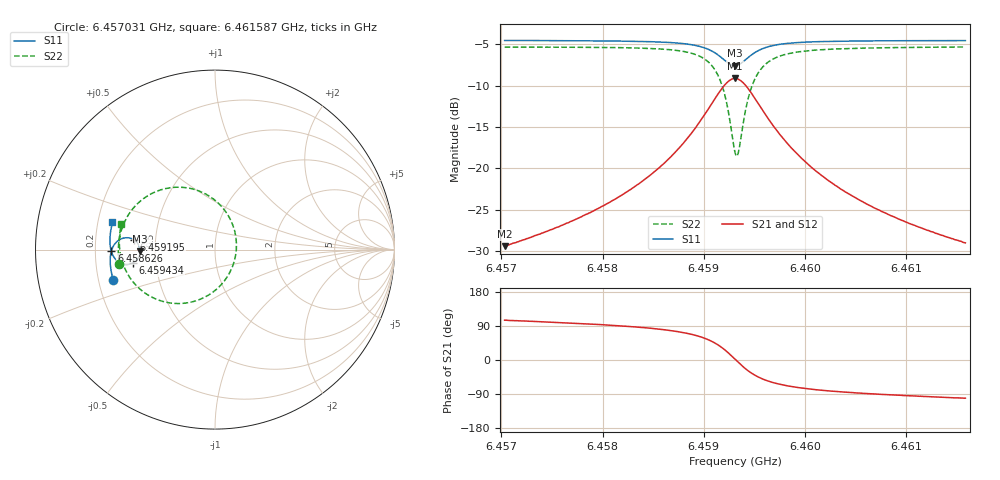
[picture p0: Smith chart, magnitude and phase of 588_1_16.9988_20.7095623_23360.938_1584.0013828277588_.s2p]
#  HZ  S  RI  R  50.00
! Rohde & Schwarz Vector Network Analyzer
! Rohde-Schwarz,ZNB20-2Port,1311601062101988,3.16
! Created: UTC 3/20/2024, 11:18:24 PM
! freq[Hz]  re:S11  im:S11  re:S21  im:S21  re:S12  im:S12  re:S22  im:S22
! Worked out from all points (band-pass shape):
!   401 points, 6.457031 GHz to 6.461587 GHz, reference 50 ohm
!   highest |S21| = -9.14 dB at 6.459309 GHz (marker M1); lowest = -29.4 dB at 6.457031 GHz (marker M2)
!   |S21| within 3 dB of the highest: 6.459081 GHz to 6.459537 GHz (455.9 kHz wide, 0.00706 % of centre)
!   lowest |S11| = -7.6 dB at 6.459309 GHz (marker M3), VSWR 2.43, Z = 20.6 - j0.421 ohm
!   |S11| at or under -10 dB: nowhere
!   |S22| runs from -18.5 to -5.3 dB; largest |S21 - S12| = 0.014
!   S11 on the Smith chart (normalised r, x): 6.457031 GHz: 0.26, -0.14; 6.458626 GHz: 0.27, -0.01; 6.459195 GHz: 0.37, +0.05; 6.459434 GHz: 0.37, -0.07; 6.461587 GHz: 0.26, +0.12
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6.4570308e9  -0.5679 -0.1681  -0.00878 0.0328  -0.00695 0.0328  -0.5339 -0.0799
6.457794e9  -0.5812 -0.101  -0.00537 0.0509  -0.00268 0.0503  -0.5385 0.0102
6.4581927e9  -0.5839 -0.0612  0.000227 0.0693  0.00355 0.0678  -0.5305 0.0735
6.4585572e9  -0.5798 -0.0174  0.015 0.0996  0.019 0.0969  -0.5034 0.1557
6.4586256e9  -0.5775 -0.00802  0.0204 0.108  0.0246 0.1048  -0.4931 0.1757
6.4588192e9  -0.5646 0.0224  0.0472 0.1392  0.0515 0.1342  -0.4425 0.2452
6.4589673e9  -0.5415 0.0487  0.0931 0.1698  0.0964 0.163  -0.3579 0.3096
6.459104e9  -0.4974 0.066  0.1814 0.186  0.1822 0.1786  -0.1967 0.3476
6.4591951e9  -0.4525 0.0554  0.2718 0.1542  0.272 0.1483  -0.0286 0.2959
6.4592635e9  -0.4233 0.023  0.3326 0.0814  0.3347 0.076  0.0874 0.1644
6.4593091e9  -0.4165 -0.00844  0.3489 0.0127  0.3527 0.00568  0.1194 0.0358
6.4593432e9  -0.4205 -0.0323  0.343 -0.0402  0.3467 -0.0494  0.1075 -0.0648
6.4593888e9  -0.4362 -0.0587  0.3139 -0.1005  0.3161 -0.1126  0.0488 -0.1791
6.4594344e9  -0.4585 -0.0751  0.2712 -0.1419  0.2704 -0.1553  -0.0378 -0.2546
6.4594799e9  -0.4816 -0.0819  0.2261 -0.1645  0.2221 -0.1776  -0.1283 -0.2915
6.4595255e9  -0.5022 -0.0821  0.1853 -0.173  0.179 -0.1849  -0.209 -0.3005
6.4596736e9  -0.5465 -0.0615  0.0967 -0.1587  0.0879 -0.165  -0.3784 -0.2498
6.4598331e9  -0.5681 -0.0336  0.0514 -0.1303  0.0437 -0.1331  -0.4595 -0.1766
6.4600723e9  -0.581 0.00195  0.0222 -0.0984  0.0162 -0.0988  -0.5076 -0.0933
6.460414e9  -0.5854 0.0428  0.00598 -0.0712  0.00191 -0.0706  -0.5288 -0.0136
6.4608355e9  -0.5835 0.0853  -0.00153 -0.0524  -0.00454 -0.0515  -0.5331 0.0549
6.4615873e9  -0.5713 0.152  -0.00658 -0.0349  -0.00842 -0.0339  -0.5214 0.1443
